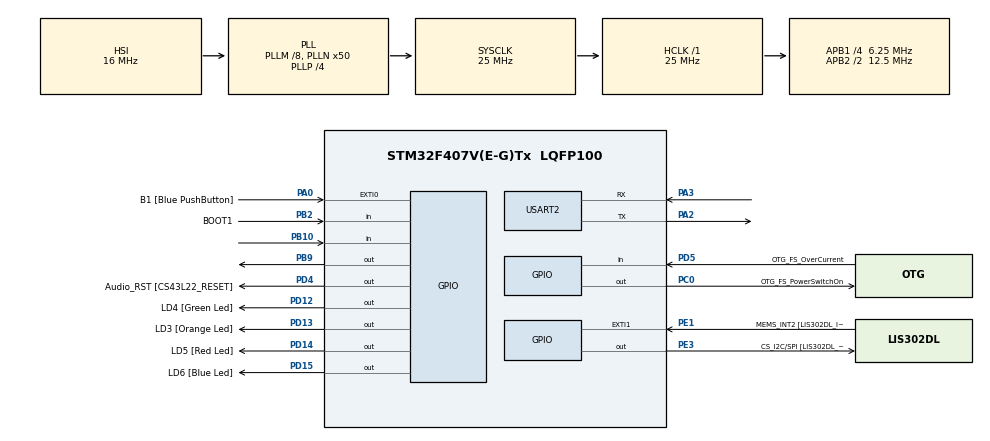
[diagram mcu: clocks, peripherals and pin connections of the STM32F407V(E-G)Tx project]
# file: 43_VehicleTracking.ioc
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Mcu.Family=STM32F4
Mcu.Name=STM32F407V(E-G)Tx
Mcu.Package=LQFP100
NVIC.PriorityGroup=NVIC_PRIORITYGROUP_0
PA0-WKUP.GPIO_Label=B1 [Blue PushButton]
PA0-WKUP.Signal=GPXTI0
PA10.GPIO_Label=OTG_FS_ID
PA10.GPIO_Mode=GPIO_MODE_AF_PP
PA10.GPIO_PuPd=GPIO_NOPULL
PA10.GPIO_Speed=GPIO_SPEED_FREQ_LOW
PA10.Signal=USB_OTG_FS_ID
PA11.GPIO_Label=OTG_FS_DM
PA11.GPIO_Mode=GPIO_MODE_AF_PP
PA11.GPIO_PuPd=GPIO_NOPULL
PA11.GPIO_Speed=GPIO_SPEED_FREQ_LOW
PA11.Signal=USB_OTG_FS_DM
PA12.GPIO_Label=OTG_FS_DP
PA12.GPIO_Mode=GPIO_MODE_AF_PP
PA12.GPIO_PuPd=GPIO_NOPULL
PA12.GPIO_Speed=GPIO_SPEED_FREQ_LOW
PA12.Signal=USB_OTG_FS_DP
PA13.GPIO_Label=SWDIO
PA13.Signal=SYS_JTMS-SWDIO
PA14.GPIO_Label=SWCLK
PA14.Signal=SYS_JTCK-SWCLK
PA2.Mode=Asynchronous
PA2.Signal=USART2_TX
PA3.Mode=Asynchronous
PA3.Signal=USART2_RX
PA4.GPIO_Label=I2S3_WS [CS43L22_LRCK]
PA4.GPIO_Mode=GPIO_MODE_AF_PP
PA4.GPIO_PuPd=GPIO_NOPULL
PA4.GPIO_Speed=GPIO_SPEED_FREQ_LOW
PA4.Signal=I2S3_WS
PA5.GPIO_Label=SPI1_SCK [LIS302DL_SCL/SPC]
PA5.GPIO_Mode=GPIO_MODE_AF_PP
PA5.GPIO_PuPd=GPIO_NOPULL
PA5.GPIO_Speed=GPIO_SPEED_FREQ_LOW
PA5.Signal=SPI1_SCK
PA6.GPIO_Label=SPI1_MISO [LIS302DL_SDO]
PA6.GPIO_Mode=GPIO_MODE_AF_PP
PA6.GPIO_PuPd=GPIO_NOPULL
PA6.GPIO_Speed=GPIO_SPEED_FREQ_LOW
PA6.Signal=SPI1_MISO
PA7.GPIO_Label=SPI1_MOSI [LIS302DL_SDA/SDI/SDO]
PA7.GPIO_Mode=GPIO_MODE_AF_PP
PA7.GPIO_PuPd=GPIO_NOPULL
PA7.GPIO_Speed=GPIO_SPEED_FREQ_LOW
PA7.Signal=SPI1_MOSI
PA9.GPIO_Label=VBUS_FS
PA9.GPIO_Mode=GPIO_MODE_INPUT
PA9.GPIO_PuPd=GPIO_NOPULL
PA9.Signal=USB_OTG_FS_VBUS
PB10.Signal=GPIO_Input
PB2.GPIO_Label=BOOT1
PB2.GPIO_Mode=GPIO_MODE_INPUT
PB2.GPIO_PuPd=GPIO_NOPULL
PB2.Signal=GPIO_Input
PB3.GPIO_Label=SWO
PB3.Signal=SYS_JTDO-SWO
PB6.GPIO_Label=Audio_SCL [CS43L22_SCL]
PB6.GPIO_Mode=GPIO_MODE_AF_OD
PB6.GPIO_PuPd=GPIO_NOPULL
PB6.GPIO_Speed=GPIO_SPEED_FREQ_LOW
PB6.Signal=I2C1_SCL
PB9.Signal=GPIO_Output
PC0.GPIO_Label=OTG_FS_PowerSwitchOn
PC0.GPIO_PuPd=GPIO_NOPULL
PC0.GPIO_Speed=GPIO_SPEED_FREQ_LOW
PC0.PinState=GPIO_PIN_SET
PC0.Signal=GPIO_Output
PC10.GPIO_Label=I2S3_SCK [CS43L22_SCLK]
PC10.GPIO_Mode=GPIO_MODE_AF_PP
PC10.GPIO_PuPd=GPIO_NOPULL
PC10.GPIO_Speed=GPIO_SPEED_FREQ_LOW
PC10.Signal=I2S3_CK
PC12.GPIO_Label=I2S3_SD [CS43L22_SDIN]
PC12.GPIO_Mode=GPIO_MODE_AF_PP
PC12.GPIO_PuPd=GPIO_NOPULL
PC12.GPIO_Speed=GPIO_SPEED_FREQ_LOW
PC12.Signal=I2S3_SD
PC14-OSC32_IN.GPIO_Label=PC14-OSC32_IN
PC14-OSC32_IN.Signal=RCC_OSC32_IN
PC15-OSC32_OUT.GPIO_Label=PC15-OSC32_OUT
PC15-OSC32_OUT.Signal=RCC_OSC32_OUT
PC3.GPIO_Label=PDM_OUT [MP45DT02_DOUT]
PC3.GPIO_Mode=GPIO_MODE_AF_PP
PC3.GPIO_PuPd=GPIO_NOPULL
PC3.GPIO_Speed=GPIO_SPEED_FREQ_LOW
PC3.Signal=I2S2_SD
PC7.GPIO_Label=I2S3_MCK [CS43L22_MCLK]
PC7.GPIO_Mode=GPIO_MODE_AF_PP
PC7.GPIO_PuPd=GPIO_NOPULL
PC7.GPIO_Speed=GPIO_SPEED_FREQ_LOW
PC7.Signal=I2S3_MCK
PD12.GPIO_Label=LD4 [Green Led]
PD12.GPIO_PuPd=GPIO_NOPULL
PD12.GPIO_Speed=GPIO_SPEED_FREQ_LOW
PD12.Signal=GPIO_Output
PD13.GPIO_Label=LD3 [Orange Led]
PD13.GPIO_PuPd=GPIO_NOPULL
PD13.GPIO_Speed=GPIO_SPEED_FREQ_LOW
PD13.Signal=GPIO_Output
PD14.GPIO_Label=LD5 [Red Led]
PD14.GPIO_PuPd=GPIO_NOPULL
PD14.GPIO_Speed=GPIO_SPEED_FREQ_LOW
PD14.Signal=GPIO_Output
PD15.GPIO_Label=LD6 [Blue Led]
PD15.GPIO_PuPd=GPIO_NOPULL
PD15.GPIO_Speed=GPIO_SPEED_FREQ_LOW
PD15.Signal=GPIO_Output
PD4.GPIO_Label=Audio_RST [CS43L22_RESET]
PD4.GPIO_PuPd=GPIO_NOPULL
PD4.GPIO_Speed=GPIO_SPEED_FREQ_LOW
PD4.Signal=GPIO_Output
PD5.GPIO_Label=OTG_FS_OverCurrent
PD5.GPIO_Mode=GPIO_MODE_INPUT
PD5.GPIO_PuPd=GPIO_NOPULL
PD5.Signal=GPIO_Input
PE1.GPIO_Label=MEMS_INT2 [LIS302DL_INT2]
PE1.GPIO_ModeDefaultEXTI=GPIO_MODE_EVT_RISING
PE1.GPIO_PuPd=GPIO_NOPULL
PE1.Signal=GPXTI1
PE3.GPIO_Label=CS_I2C/SPI [LIS302DL_CS_I2C/SPI]
PE3.GPIO_PuPd=GPIO_NOPULL
PE3.GPIO_Speed=GPIO_SPEED_FREQ_LOW
PE3.Signal=GPIO_Output
PH0-OSC_IN.GPIO_Label=PH0-OSC_IN
PH0-OSC_IN.Signal=RCC_OSC_IN
PH1-OSC_OUT.GPIO_Label=PH1-OSC_OUT
PH1-OSC_OUT.Signal=RCC_OSC_OUT
ProjectManager.HeapSize=0x200
ProjectManager.StackSize=0x400
ProjectManager.TargetToolchain=STM32CubeIDE
RCC.48MHZClocksFreq_Value=14285714.285714285
RCC.AHBFreq_Value=25000000
RCC.APB1CLKDivider=RCC_HCLK_DIV4
RCC.APB1Freq_Value=6250000
RCC.APB1TimFreq_Value=12500000
RCC.APB2CLKDivider=RCC_HCLK_DIV2
RCC.APB2Freq_Value=12500000
RCC.APB2TimFreq_Value=25000000
RCC.CortexFreq_Value=25000000
RCC.HCLKFreq_Value=25000000
RCC.HSE_VALUE=8000000
RCC.HSI_VALUE=16000000
RCC.LSE_VALUE=32768
RCC.PLLM=8
RCC.PLLN=50
RCC.PLLP=RCC_PLLP_DIV4
RCC.PLLQ=7
RCC.SYSCLKFreq_VALUE=25000000
RCC.SYSCLKSource=RCC_SYSCLKSOURCE_PLLCLK
RCC.VCOOutputFreq_Value=100000000
USART2.VirtualMode=VM_ASYNC
VP_TIM3_VS_ClockSourceINT.Mode=Internal
board=STM32F407G-DISC1

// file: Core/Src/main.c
/* USER CODE BEGIN Header */
/**
  ******************************************************************************
  * @file           : main.c
  * @brief          : Main program body
  ******************************************************************************
  * @attention
  *
  * Copyright (c) 2026 STMicroelectronics.
  * All rights reserved.
  *
  * This software is licensed under terms that can be found in the LICENSE file
  * in the root directory of this software component.
  * If no LICENSE file comes with this software, it is provided AS-IS.
  *
  ******************************************************************************
  */
/* USER CODE END Header */
#include "main.h"
#include <stdio.h>
#include <string.h>

TIM_HandleTypeDef htim3;

UART_HandleTypeDef huart2;

/* USER CODE BEGIN PV */
uint32_t vehicle_count = 0;
uint8_t vehicle_present = 0;
char msg[100];
/* USER CODE END PV */

void SystemClock_Config(void);
static void MX_GPIO_Init(void);
static void MX_TIM3_Init(void);
static void MX_USART2_UART_Init(void);
/* USER CODE BEGIN PFP */
void delay_us(uint16_t us);
uint32_t get_distance(void);
/* USER CODE END PFP */

/* USER CODE BEGIN 0 */
void delay_us(uint16_t us)
{
    __HAL_TIM_SET_COUNTER(&htim3,0);

    while(__HAL_TIM_GET_COUNTER(&htim3) < us);
}

uint32_t get_distance(void)
{
    uint32_t start,end,time,distance;

    HAL_GPIO_WritePin(GPIOB,GPIO_PIN_9,GPIO_PIN_RESET);
    delay_us(2);

    HAL_GPIO_WritePin(GPIOB,GPIO_PIN_9,GPIO_PIN_SET);
    delay_us(10);

    HAL_GPIO_WritePin(GPIOB,GPIO_PIN_9,GPIO_PIN_RESET);

    while(HAL_GPIO_ReadPin(GPIOB,GPIO_PIN_10)==GPIO_PIN_RESET);

    start = __HAL_TIM_GET_COUNTER(&htim3);

    while(HAL_GPIO_ReadPin(GPIOB,GPIO_PIN_10)==GPIO_PIN_SET);

    end = __HAL_TIM_GET_COUNTER(&htim3);

    time = end - start;

    distance = time / 58;

    return distance;
}
/* USER CODE END 0 */

int main(void)
{

  /* MCU Configuration--------------------------------------------------------*/

  /* Reset of all peripherals, Initializes the Flash interface and the Systick. */
  HAL_Init();

  /* Configure the system clock */
  SystemClock_Config();

  /* Initialize all configured peripherals */
  MX_GPIO_Init();
  MX_TIM3_Init();
  MX_USART2_UART_Init();
  /* USER CODE BEGIN 2 */
  HAL_TIM_Base_Start(&htim3);
  /* USER CODE END 2 */

  /* Infinite loop */
  while (1)
  {

    /* USER CODE BEGIN 3 */
	  uint32_t distance = get_distance();

	  sprintf(msg,"Distance = %lu cm\r\n",distance);
	  HAL_UART_Transmit(&huart2,(uint8_t*)msg,strlen(msg),HAL_MAX_DELAY);

	  if(distance < 50 && vehicle_present == 0)
	  {
	      vehicle_present = 1;
	  }

	  if(distance > 50 && vehicle_present == 1)
	  {
	      vehicle_count++;
	      vehicle_present = 0;

	      sprintf(msg,"Vehicle Count = %lu\r\n",vehicle_count);
	      HAL_UART_Transmit(&huart2,(uint8_t*)msg,strlen(msg),HAL_MAX_DELAY);
	  }

	  HAL_Delay(200);
  }
  /* USER CODE END 3 */
}

void SystemClock_Config(void)
{
  RCC_OscInitTypeDef RCC_OscInitStruct = {0};
  RCC_ClkInitTypeDef RCC_ClkInitStruct = {0};

  /** Configure the main internal regulator output voltage
  */
  __HAL_RCC_PWR_CLK_ENABLE();
  __HAL_PWR_VOLTAGESCALING_CONFIG(PWR_REGULATOR_VOLTAGE_SCALE1);

  /** Initializes the RCC Oscillators according to the specified parameters
  * in the RCC_OscInitTypeDef structure.
  */
  RCC_OscInitStruct.OscillatorType = RCC_OSCILLATORTYPE_HSI;
  RCC_OscInitStruct.HSIState = RCC_HSI_ON;
  RCC_OscInitStruct.HSICalibrationValue = RCC_HSICALIBRATION_DEFAULT;
  RCC_OscInitStruct.PLL.PLLState = RCC_PLL_ON;
  RCC_OscInitStruct.PLL.PLLSource = RCC_PLLSOURCE_HSI;
  RCC_OscInitStruct.PLL.PLLM = 8;
  RCC_OscInitStruct.PLL.PLLN = 50;
  RCC_OscInitStruct.PLL.PLLP = RCC_PLLP_DIV4;
  RCC_OscInitStruct.PLL.PLLQ = 7;
  if (HAL_RCC_OscConfig(&RCC_OscInitStruct) != HAL_OK)
  {
    Error_Handler();
  }

  /** Initializes the CPU, AHB and APB buses clocks
  */
  RCC_ClkInitStruct.ClockType = RCC_CLOCKTYPE_HCLK|RCC_CLOCKTYPE_SYSCLK
                              |RCC_CLOCKTYPE_PCLK1|RCC_CLOCKTYPE_PCLK2;
  RCC_ClkInitStruct.SYSCLKSource = RCC_SYSCLKSOURCE_PLLCLK;
  RCC_ClkInitStruct.AHBCLKDivider = RCC_SYSCLK_DIV1;
  RCC_ClkInitStruct.APB1CLKDivider = RCC_HCLK_DIV4;
  RCC_ClkInitStruct.APB2CLKDivider = RCC_HCLK_DIV2;

  if (HAL_RCC_ClockConfig(&RCC_ClkInitStruct, FLASH_LATENCY_0) != HAL_OK)
  {
    Error_Handler();
  }
}

static void MX_TIM3_Init(void)
{

  TIM_ClockConfigTypeDef sClockSourceConfig = {0};
  TIM_MasterConfigTypeDef sMasterConfig = {0};

  htim3.Instance = TIM3;
  htim3.Init.Prescaler = 0;
  htim3.Init.CounterMode = TIM_COUNTERMODE_UP;
  htim3.Init.Period = 65535;
  htim3.Init.ClockDivision = TIM_CLOCKDIVISION_DIV1;
  htim3.Init.AutoReloadPreload = TIM_AUTORELOAD_PRELOAD_DISABLE;
  if (HAL_TIM_Base_Init(&htim3) != HAL_OK)
  {
    Error_Handler();
  }
  sClockSourceConfig.ClockSource = TIM_CLOCKSOURCE_INTERNAL;
  if (HAL_TIM_ConfigClockSource(&htim3, &sClockSourceConfig) != HAL_OK)
  {
    Error_Handler();
  }
  sMasterConfig.MasterOutputTrigger = TIM_TRGO_RESET;
  sMasterConfig.MasterSlaveMode = TIM_MASTERSLAVEMODE_DISABLE;
  if (HAL_TIMEx_MasterConfigSynchronization(&htim3, &sMasterConfig) != HAL_OK)
  {
    Error_Handler();
  }

}

static void MX_USART2_UART_Init(void)
{

  huart2.Instance = USART2;
  huart2.Init.BaudRate = 115200;
  huart2.Init.WordLength = UART_WORDLENGTH_8B;
  huart2.Init.StopBits = UART_STOPBITS_1;
  huart2.Init.Parity = UART_PARITY_NONE;
  huart2.Init.Mode = UART_MODE_TX_RX;
  huart2.Init.HwFlowCtl = UART_HWCONTROL_NONE;
  huart2.Init.OverSampling = UART_OVERSAMPLING_16;
  if (HAL_UART_Init(&huart2) != HAL_OK)
  {
    Error_Handler();
  }

}

static void MX_GPIO_Init(void)
{
  GPIO_InitTypeDef GPIO_InitStruct = {0};

  /* GPIO Ports Clock Enable */
  __HAL_RCC_GPIOE_CLK_ENABLE();
  __HAL_RCC_GPIOC_CLK_ENABLE();
  __HAL_RCC_GPIOH_CLK_ENABLE();
  __HAL_RCC_GPIOA_CLK_ENABLE();
  __HAL_RCC_GPIOB_CLK_ENABLE();
  __HAL_RCC_GPIOD_CLK_ENABLE();

  /*Configure GPIO pin Output Level */
  HAL_GPIO_WritePin(CS_I2C_SPI_GPIO_Port, CS_I2C_SPI_Pin, GPIO_PIN_RESET);

  /*Configure GPIO pin Output Level */
  HAL_GPIO_WritePin(OTG_FS_PowerSwitchOn_GPIO_Port, OTG_FS_PowerSwitchOn_Pin, GPIO_PIN_SET);

  /*Configure GPIO pin Output Level */
  HAL_GPIO_WritePin(GPIOD, LD4_Pin|LD3_Pin|LD5_Pin|LD6_Pin
                          |Audio_RST_Pin, GPIO_PIN_RESET);

  /*Configure GPIO pin Output Level */
  HAL_GPIO_WritePin(GPIOB, GPIO_PIN_9, GPIO_PIN_RESET);

  /*Configure GPIO pin : CS_I2C_SPI_Pin */
  GPIO_InitStruct.Pin = CS_I2C_SPI_Pin;
  GPIO_InitStruct.Mode = GPIO_MODE_OUTPUT_PP;
  GPIO_InitStruct.Pull = GPIO_NOPULL;
  GPIO_InitStruct.Speed = GPIO_SPEED_FREQ_LOW;
  HAL_GPIO_Init(CS_I2C_SPI_GPIO_Port, &GPIO_InitStruct);

  /*Configure GPIO pin : OTG_FS_PowerSwitchOn_Pin */
  GPIO_InitStruct.Pin = OTG_FS_PowerSwitchOn_Pin;
  GPIO_InitStruct.Mode = GPIO_MODE_OUTPUT_PP;
  GPIO_InitStruct.Pull = GPIO_NOPULL;
  GPIO_InitStruct.Speed = GPIO_SPEED_FREQ_LOW;
  HAL_GPIO_Init(OTG_FS_PowerSwitchOn_GPIO_Port, &GPIO_InitStruct);

  /*Configure GPIO pin : PDM_OUT_Pin */
  GPIO_InitStruct.Pin = PDM_OUT_Pin;
  GPIO_InitStruct.Mode = GPIO_MODE_AF_PP;
  GPIO_InitStruct.Pull = GPIO_NOPULL;
  GPIO_InitStruct.Speed = GPIO_SPEED_FREQ_LOW;
  GPIO_InitStruct.Alternate = GPIO_AF5_SPI2;
  HAL_GPIO_Init(PDM_OUT_GPIO_Port, &GPIO_InitStruct);

  /*Configure GPIO pin : B1_Pin */
  GPIO_InitStruct.Pin = B1_Pin;
  GPIO_InitStruct.Mode = GPIO_MODE_IT_RISING;
  GPIO_InitStruct.Pull = GPIO_NOPULL;
  HAL_GPIO_Init(B1_GPIO_Port, &GPIO_InitStruct);

  /*Configure GPIO pin : I2S3_WS_Pin */
  GPIO_InitStruct.Pin = I2S3_WS_Pin;
  GPIO_InitStruct.Mode = GPIO_MODE_AF_PP;
  GPIO_InitStruct.Pull = GPIO_NOPULL;
  GPIO_InitStruct.Speed = GPIO_SPEED_FREQ_LOW;
  GPIO_InitStruct.Alternate = GPIO_AF6_SPI3;
  HAL_GPIO_Init(I2S3_WS_GPIO_Port, &GPIO_InitStruct);

  /*Configure GPIO pins : SPI1_SCK_Pin SPI1_MISO_Pin SPI1_MOSI_Pin */
  GPIO_InitStruct.Pin = SPI1_SCK_Pin|SPI1_MISO_Pin|SPI1_MOSI_Pin;
  GPIO_InitStruct.Mode = GPIO_MODE_AF_PP;
  GPIO_InitStruct.Pull = GPIO_NOPULL;
  GPIO_InitStruct.Speed = GPIO_SPEED_FREQ_LOW;
  GPIO_InitStruct.Alternate = GPIO_AF5_SPI1;
  HAL_GPIO_Init(GPIOA, &GPIO_InitStruct);

  /*Configure GPIO pins : BOOT1_Pin PB10 */
  GPIO_InitStruct.Pin = BOOT1_Pin|GPIO_PIN_10;
  GPIO_InitStruct.Mode = GPIO_MODE_INPUT;
  GPIO_InitStruct.Pull = GPIO_NOPULL;
  HAL_GPIO_Init(GPIOB, &GPIO_InitStruct);

  /*Configure GPIO pins : LD4_Pin LD3_Pin LD5_Pin LD6_Pin
                           Audio_RST_Pin */
  GPIO_InitStruct.Pin = LD4_Pin|LD3_Pin|LD5_Pin|LD6_Pin
                          |Audio_RST_Pin;
  GPIO_InitStruct.Mode = GPIO_MODE_OUTPUT_PP;
  GPIO_InitStruct.Pull = GPIO_NOPULL;
  GPIO_InitStruct.Speed = GPIO_SPEED_FREQ_LOW;
  HAL_GPIO_Init(GPIOD, &GPIO_InitStruct);

  /*Configure GPIO pins : I2S3_MCK_Pin I2S3_SCK_Pin I2S3_SD_Pin */
  GPIO_InitStruct.Pin = I2S3_MCK_Pin|I2S3_SCK_Pin|I2S3_SD_Pin;
  GPIO_InitStruct.Mode = GPIO_MODE_AF_PP;
  GPIO_InitStruct.Pull = GPIO_NOPULL;
  GPIO_InitStruct.Speed = GPIO_SPEED_FREQ_LOW;
  GPIO_InitStruct.Alternate = GPIO_AF6_SPI3;
  HAL_GPIO_Init(GPIOC, &GPIO_InitStruct);

  /*Configure GPIO pin : VBUS_FS_Pin */
  GPIO_InitStruct.Pin = VBUS_FS_Pin;
  GPIO_InitStruct.Mode = GPIO_MODE_INPUT;
  GPIO_InitStruct.Pull = GPIO_NOPULL;
  HAL_GPIO_Init(VBUS_FS_GPIO_Port, &GPIO_InitStruct);

  /*Configure GPIO pins : OTG_FS_ID_Pin OTG_FS_DM_Pin OTG_FS_DP_Pin */
  GPIO_InitStruct.Pin = OTG_FS_ID_Pin|OTG_FS_DM_Pin|OTG_FS_DP_Pin;
  GPIO_InitStruct.Mode = GPIO_MODE_AF_PP;
  GPIO_InitStruct.Pull = GPIO_NOPULL;
  GPIO_InitStruct.Speed = GPIO_SPEED_FREQ_LOW;
  GPIO_InitStruct.Alternate = GPIO_AF10_OTG_FS;
  HAL_GPIO_Init(GPIOA, &GPIO_InitStruct);

  /*Configure GPIO pin : OTG_FS_OverCurrent_Pin */
  GPIO_InitStruct.Pin = OTG_FS_OverCurrent_Pin;
  GPIO_InitStruct.Mode = GPIO_MODE_INPUT;
  GPIO_InitStruct.Pull = GPIO_NOPULL;
  HAL_GPIO_Init(OTG_FS_OverCurrent_GPIO_Port, &GPIO_InitStruct);

  /*Configure GPIO pin : Audio_SCL_Pin */
  GPIO_InitStruct.Pin = Audio_SCL_Pin;
  GPIO_InitStruct.Mode = GPIO_MODE_AF_OD;
  GPIO_InitStruct.Pull = GPIO_NOPULL;
  GPIO_InitStruct.Speed = GPIO_SPEED_FREQ_LOW;
  GPIO_InitStruct.Alternate = GPIO_AF4_I2C1;
  HAL_GPIO_Init(Audio_SCL_GPIO_Port, &GPIO_InitStruct);

  /*Configure GPIO pin : PB9 */
  GPIO_InitStruct.Pin = GPIO_PIN_9;
  GPIO_InitStruct.Mode = GPIO_MODE_OUTPUT_PP;
  GPIO_InitStruct.Pull = GPIO_NOPULL;
  GPIO_InitStruct.Speed = GPIO_SPEED_FREQ_LOW;
  HAL_GPIO_Init(GPIOB, &GPIO_InitStruct);

  /*Configure GPIO pin : MEMS_INT2_Pin */
  GPIO_InitStruct.Pin = MEMS_INT2_Pin;
  GPIO_InitStruct.Mode = GPIO_MODE_EVT_RISING;
  GPIO_InitStruct.Pull = GPIO_NOPULL;
  HAL_GPIO_Init(MEMS_INT2_GPIO_Port, &GPIO_InitStruct);

}

void Error_Handler(void)
{
  __disable_irq();
  while (1)
  {
  }
}
